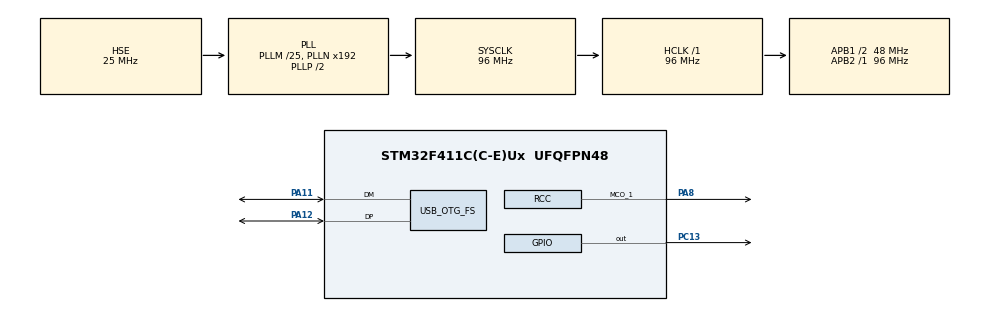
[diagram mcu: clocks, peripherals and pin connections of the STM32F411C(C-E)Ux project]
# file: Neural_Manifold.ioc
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Mcu.Family=STM32F4
Mcu.Name=STM32F411C(C-E)Ux
Mcu.Package=UFQFPN48
NVIC.OTG_FS_IRQn=true\:0\:0\:false\:false\:true\:true\:true\:true
NVIC.PriorityGroup=NVIC_PRIORITYGROUP_4
PA11.Mode=Device_Only
PA11.Signal=USB_OTG_FS_DM
PA12.Mode=Device_Only
PA12.Signal=USB_OTG_FS_DP
PA13.Mode=Serial_Wire
PA13.Signal=SYS_JTMS-SWDIO
PA14.Mode=Serial_Wire
PA14.Signal=SYS_JTCK-SWCLK
PA8.GPIO_Speed=GPIO_SPEED_FREQ_VERY_HIGH
PA8.Mode=Clock-out-1
PA8.Signal=RCC_MCO_1
PC13-ANTI_TAMP.Signal=GPIO_Output
PH0\ -\ OSC_IN.Mode=HSE-External-Oscillator
PH0\ -\ OSC_IN.Signal=RCC_OSC_IN
PH1\ -\ OSC_OUT.Mode=HSE-External-Oscillator
PH1\ -\ OSC_OUT.Signal=RCC_OSC_OUT
ProjectManager.HeapSize=0x200
ProjectManager.StackSize=0x1800
ProjectManager.TargetToolchain=MDK-ARM V5.27
RCC.48MHZClocksFreq_Value=48000000
RCC.AHBFreq_Value=96000000
RCC.APB1CLKDivider=RCC_HCLK_DIV2
RCC.APB1Freq_Value=48000000
RCC.APB1TimFreq_Value=96000000
RCC.APB2Freq_Value=96000000
RCC.APB2TimFreq_Value=96000000
RCC.CortexFreq_Value=96000000
RCC.HCLKFreq_Value=96000000
RCC.HSE_VALUE=25000000
RCC.HSI_VALUE=16000000
RCC.LSE_VALUE=32768
RCC.PLLM=25
RCC.RCC_MCO1Source=RCC_MCO1SOURCE_PLLCLK
RCC.SYSCLKFreq_VALUE=96000000
RCC.SYSCLKSource=RCC_SYSCLKSOURCE_PLLCLK
RCC.VCOOutputFreq_Value=192000000
USB_DEVICE.APP_RX_DATA_SIZE=2048
USB_DEVICE.APP_TX_DATA_SIZE=2048
USB_DEVICE.CLASS_NAME_FS=CDC
USB_DEVICE.VID=53182
USB_DEVICE.VirtualMode=Cdc
USB_DEVICE.VirtualModeFS=Cdc_FS
USB_OTG_FS.VirtualMode=Device_Only
VP_USB_DEVICE_VS_USB_DEVICE_CDC_FS.Mode=CDC_FS
board=custom

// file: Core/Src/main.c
/* USER CODE BEGIN Header */
/**
  ******************************************************************************
  * @file           : main.c
  * @brief          : Main program body
  ******************************************************************************
  * @attention
  *
  * Copyright (c) 2025 STMicroelectronics.
  * All rights reserved.
  *
  * This software is licensed under terms that can be found in the LICENSE file
  * in the root directory of this software component.
  * If no LICENSE file comes with this software, it is provided AS-IS.
  *
  ******************************************************************************
  */
/* USER CODE END Header */
#include "main.h"
#include "usb_device.h"
#include "gpio.h"

/* USER CODE BEGIN Includes */
#include "event.h"
#include "neural_manifold.h"
#include "usbd_cdc_if.h"
/* USER CODE END Includes */

/* USER CODE BEGIN PV */
bool run_flag = false;
Matrix* input_data;
/* USER CODE END PV */

void SystemClock_Config(void);

/* USER CODE BEGIN 0 */

bool usartResponse(Event *packet)
{
	//1.检测非法数据包
	if(NULL == packet){return false;}
	if(packet->dataLength > 64){return false;}

	unsigned char io_buffer[64];

	//2.合成连续报文
	memcpy(io_buffer,packet,0x05);
	memcpy(io_buffer+5,packet->data,packet->dataLength);
	io_buffer[5+packet->dataLength] = packet->crc;

	//3.通过蓝牙模组发送报文
	return (USBD_OK==CDC_Transmit_FS((void*)io_buffer,packet->dataLength+6))?true:false;
}

void NMCallback(unsigned short off_set,float *prediction,unsigned int prediction_size,float err)
{
	HAL_GPIO_TogglePin(GPIOC,GPIO_PIN_13);

	unsigned char stream[10];
	*(unsigned short*)&stream[0] = off_set;
	memcpy(&stream[2],prediction,0x08);

	Event event;
	EventTectonic(&event,EVENT_TRANSFER_RESULT,stream,sizeof(stream));
	usartResponse(&event);
}

void rxCallback(void* buffer,int recv_length)
{
	static unsigned char io_stream[0x40]={0x00};
	if(recv_length > 64){return;}

	memcpy(io_stream,buffer,recv_length);

	if((recv_length > 0) && (recv_length >= 0x06)){
		if(false == EventProcessing(io_stream,recv_length,usartResponse)){

		}
	}
}

/* USER CODE END 0 */

int main(void)
{

  /* MCU Configuration--------------------------------------------------------*/

  /* Reset of all peripherals, Initializes the Flash interface and the Systick. */
  HAL_Init();

  /* Configure the system clock */
  SystemClock_Config();

  /* Initialize all configured peripherals */
  MX_GPIO_Init();
  MX_USB_DEVICE_Init();
  /* USER CODE BEGIN 2 */
	setRxCallback(rxCallback);

	input_data = getInputMatrix();
	run_flag = false;
	//fillTestData(input_data);

  /* USER CODE END 2 */

  /* Infinite loop */
  while (1)
  {
		if(run_flag){
				NMRun(input_data,NMCallback);

				HAL_Delay(500);
				HAL_GPIO_WritePin(GPIOC,GPIO_PIN_13,GPIO_PIN_SET);

				Event event;
				EventTectonic(&event,EVENT_STOP,NULL,0x00);
				usartResponse(&event);

			run_flag = false;
		}
  }
}

void SystemClock_Config(void)
{
  RCC_OscInitTypeDef RCC_OscInitStruct = {0};
  RCC_ClkInitTypeDef RCC_ClkInitStruct = {0};

  /** Configure the main internal regulator output voltage
  */
  __HAL_RCC_PWR_CLK_ENABLE();
  __HAL_PWR_VOLTAGESCALING_CONFIG(PWR_REGULATOR_VOLTAGE_SCALE1);

  /** Initializes the RCC Oscillators according to the specified parameters
  * in the RCC_OscInitTypeDef structure.
  */
  RCC_OscInitStruct.OscillatorType = RCC_OSCILLATORTYPE_HSE;
  RCC_OscInitStruct.HSEState = RCC_HSE_ON;
  RCC_OscInitStruct.PLL.PLLState = RCC_PLL_ON;
  RCC_OscInitStruct.PLL.PLLSource = RCC_PLLSOURCE_HSE;
  RCC_OscInitStruct.PLL.PLLM = 25;
  RCC_OscInitStruct.PLL.PLLN = 192;
  RCC_OscInitStruct.PLL.PLLP = RCC_PLLP_DIV2;
  RCC_OscInitStruct.PLL.PLLQ = 4;
  if (HAL_RCC_OscConfig(&RCC_OscInitStruct) != HAL_OK)
  {
    Error_Handler();
  }

  /** Initializes the CPU, AHB and APB buses clocks
  */
  RCC_ClkInitStruct.ClockType = RCC_CLOCKTYPE_HCLK|RCC_CLOCKTYPE_SYSCLK
                              |RCC_CLOCKTYPE_PCLK1|RCC_CLOCKTYPE_PCLK2;
  RCC_ClkInitStruct.SYSCLKSource = RCC_SYSCLKSOURCE_PLLCLK;
  RCC_ClkInitStruct.AHBCLKDivider = RCC_SYSCLK_DIV1;
  RCC_ClkInitStruct.APB1CLKDivider = RCC_HCLK_DIV2;
  RCC_ClkInitStruct.APB2CLKDivider = RCC_HCLK_DIV1;

  if (HAL_RCC_ClockConfig(&RCC_ClkInitStruct, FLASH_LATENCY_3) != HAL_OK)
  {
    Error_Handler();
  }
  HAL_RCC_MCOConfig(RCC_MCO1, RCC_MCO1SOURCE_PLLCLK, RCC_MCODIV_1);
}

void Error_Handler(void)
{
  __disable_irq();
  while (1)
  {
  }
}
